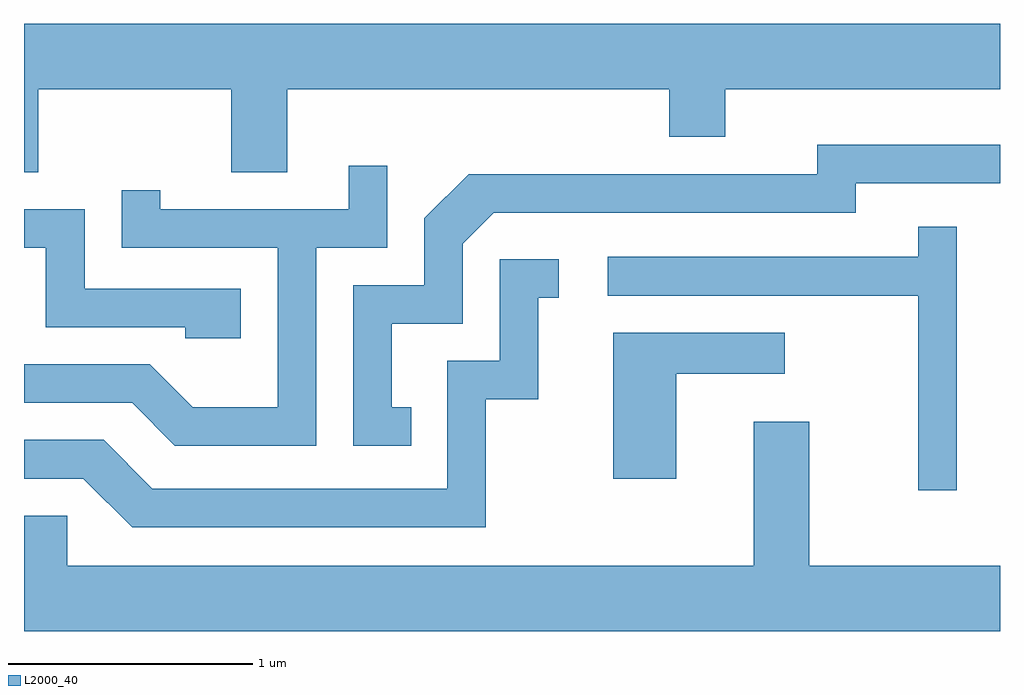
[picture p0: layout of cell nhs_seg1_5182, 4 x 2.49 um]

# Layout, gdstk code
import gdstk
lib = gdstk.Library(unit=1e-6, precision=1e-09)
def P(c, l, *ps):  # polygons
    for p in ps: c.add(gdstk.Polygon(p, *l))
L2000_40 = (2000, 40)

nhs_seg1_5182 = lib.new_cell('nhs_seg1_5182')
P(nhs_seg1_5182, L2000_40, [(341.669,870.716),(342.461,870.716),(342.461,870.376),(342.689,870.376),(342.689,870.716),(344.256,870.716),(344.256,870.521),(344.484,870.521),(344.484,870.716),(345.611,870.716),(345.611,870.984),(341.611,870.984),(341.611,870.376),(341.669,870.376)],
  [(343.198,869.414),(343.119,869.414),(343.119,869.756),(343.409,869.756),(343.409,870.084),(343.537,870.211),(345.019,870.211),(345.019,870.331),(345.611,870.331),(345.611,870.489),(344.861,870.489),(344.861,870.369),(343.434,870.369),(343.251,870.187),(343.251,869.914),(342.961,869.914),(342.961,869.256),(343.198,869.256)],
  [(342.809,870.066),(343.099,870.066),(343.099,870.403),(342.941,870.403),(342.941,870.224),(342.169,870.224),(342.169,870.303),(342.011,870.303),(342.011,870.066),(342.651,870.066),(342.651,869.414),(342.302,869.414),(342.127,869.589),(341.611,869.589),(341.611,869.431),(342.054,869.431),(342.229,869.256),(342.809,869.256)],
  [(342.499,869.899),(341.859,869.899),(341.859,870.224),(341.611,870.224),(341.611,870.066),(341.701,870.066),(341.701,869.741),(342.271,869.741),(342.271,869.696),(342.499,869.696)],
  [(345.434,870.153),(345.276,870.153),(345.276,870.029),(344.003,870.029),(344.003,869.871),(345.276,869.871),(345.276,869.073),(345.434,869.073)],
  [(343.504,869.446),(343.719,869.446),(343.719,869.861),(343.803,869.861),(343.803,870.019),(343.561,870.019),(343.561,869.604),(343.346,869.604),(343.346,869.079),(342.137,869.079),(341.937,869.279),(341.611,869.279),(341.611,869.121),(341.854,869.121),(342.054,868.921),(343.504,868.921)],
  [(344.284,869.551),(344.728,869.551),(344.728,869.719),(344.026,869.719),(344.026,869.121),(344.284,869.121)],
  [(345.611,868.764),(344.829,868.764),(344.829,869.354),(344.601,869.354),(344.601,868.764),(341.789,868.764),(341.789,868.969),(341.611,868.969),(341.611,868.496),(345.611,868.496)])

lib.write_gds('nhs_seg1_5182.gds')
